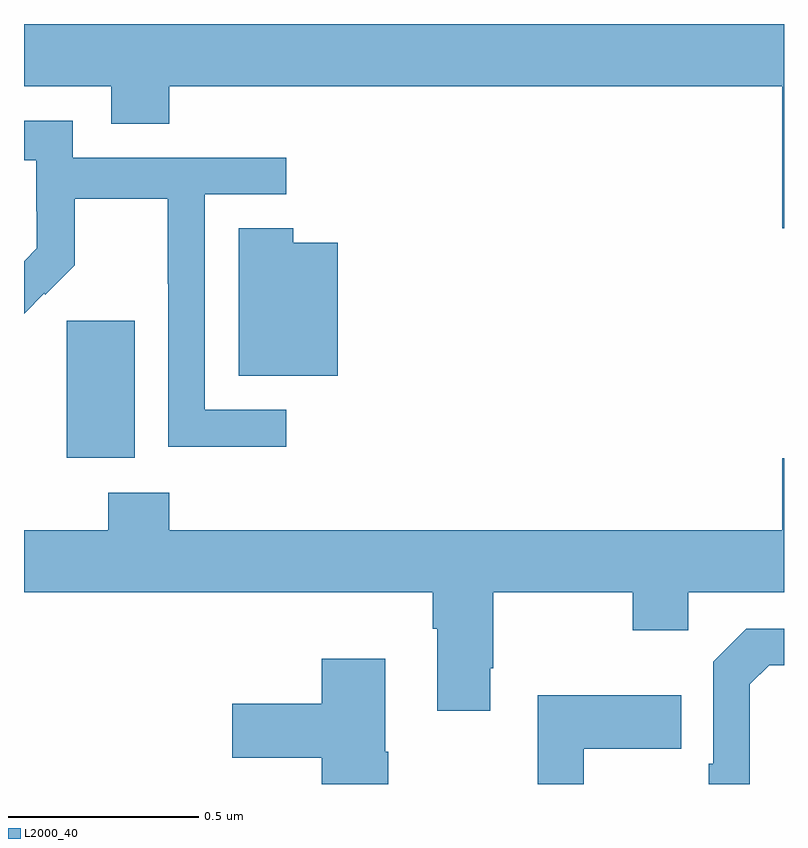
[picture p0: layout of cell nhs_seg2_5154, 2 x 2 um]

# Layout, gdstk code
import gdstk
lib = gdstk.Library(unit=1e-6, precision=1e-09)
def R(c, l, rs):  # rectangles x0, y0, x1, y1
    for r in rs: c.add(gdstk.rectangle(r[:2], r[2:], *l))
def P(c, l, *ps):  # polygons
    for p in ps: c.add(gdstk.Polygon(p, *l))
L2000_40 = (2000, 40)

nhs_seg2_5154 = lib.new_cell('nhs_seg2_5154')
R(nhs_seg2_5154, L2000_40, [(175.112,646.658,175.291,647.019)])
P(nhs_seg2_5154, L2000_40, [(177,647.8),(175,647.8),(175,647.636),(175.229,647.636),(175.229,647.537),(175.382,647.537),(175.382,647.636),(176.996,647.636),(176.996,647.262),(177,647.262)],
  [(175.69,646.785),(175.476,646.785),(175.476,647.352),(175.69,647.352),(175.69,647.448),(175.128,647.448),(175.128,647.545),(175,647.545),(175,647.441),(175.032,647.441),(175.032,647.307),(175.034,647.307),(175.034,647.21),(175,647.176),(175,647.038),(175.053,647.091),(175.056,647.088),(175.133,647.165),(175.133,647.34),(175.378,647.34),(175.378,647.116),(175.38,647.116),(175.38,646.687),(175.69,646.687)],
  [(175.825,647.224),(175.709,647.224),(175.709,647.263),(175.565,647.263),(175.565,646.874),(175.825,646.874)],
  [(176.227,646.105),(176.235,646.105),(176.235,646.304),(176.602,646.304),(176.602,646.205),(176.748,646.205),(176.748,646.304),(177,646.304),(177,646.657),(176.996,646.657),(176.996,646.468),(175.382,646.468),(175.382,646.567),(175.222,646.567),(175.222,646.468),(175,646.468),(175,646.304),(176.075,646.304),(176.075,646.208),(176.087,646.208),(176.087,645.993),(176.227,645.993)],
  [(176.91,646.062),(176.961,646.113),(177,646.113),(177,646.209),(176.901,646.209),(176.814,646.122),(176.814,645.853),(176.802,645.853),(176.802,645.8),(176.91,645.8)],
  [(175.959,645.885),(175.951,645.885),(175.951,646.129),(175.784,646.129),(175.784,646.011),(175.548,646.011),(175.548,645.869),(175.784,645.869),(175.784,645.8),(175.959,645.8)],
  [(176.473,645.893),(176.729,645.893),(176.729,646.033),(176.352,646.033),(176.352,645.8),(176.473,645.8)])

lib.write_gds('nhs_seg2_5154.gds')
